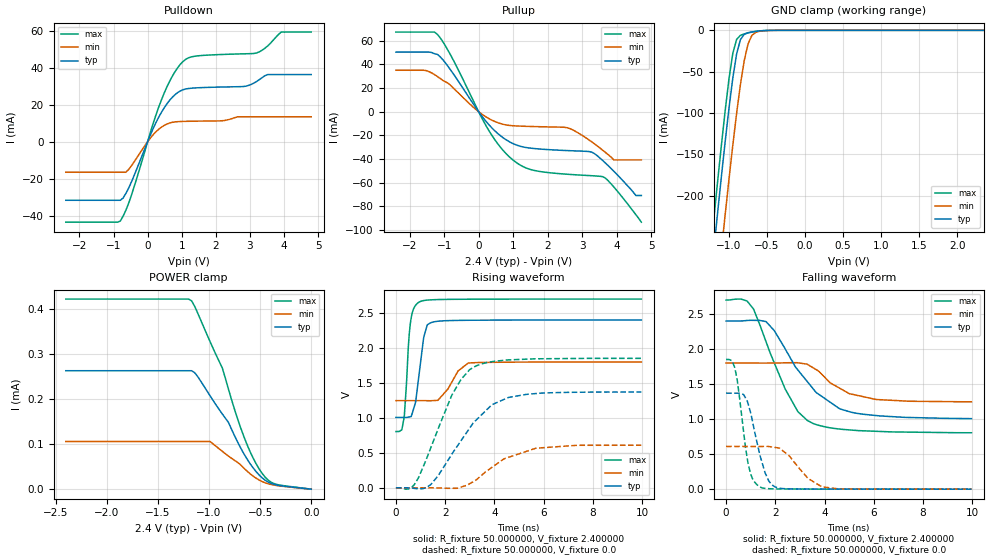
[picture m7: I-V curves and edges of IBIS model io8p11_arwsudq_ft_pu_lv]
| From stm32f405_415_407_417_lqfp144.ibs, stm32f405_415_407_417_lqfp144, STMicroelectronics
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|   Model io8p11_arwsudq_ft_pu_lv
[Model]  io8p11_arwsudq_ft_pu_lv
Model_type I/O
Polarity   Non-Inverting
Enable   Active-Low
Vinl =   0.720000V
Vinh =   1.680000V
Vmeas =  1.200000V
Cref =   30.000000pF
Rref =   100.000000M
Vref =   0.0V
C_comp   2.828100pF   2.774600pF   2.917100pF
[Temperature Range]   25.000000   0.125000k   -40.000000
[Pullup Reference]   2.400000V   1.800000V   2.700000V
[Pulldown Reference]   0.0V   0.0V   0.0V
[POWER Clamp Reference]   2.400000V   1.800000V   2.700000V
[GND Clamp Reference]   0.0V   0.0V   0.0V
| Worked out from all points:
|   slope of the pulldown table from 0 to 0.36 V, typ, clamps not added: 25 ohm
|   slope of the pullup table from 0 to 0.36 V, typ, clamps not added: 27.7 ohm
|   GND clamp passes 1 mA (typ) near -0.62 V on its own axis
|   rising waveform, R_fixture 50.000000, V_fixture 2.400000: 20-80 % time 295ps typ, 615ps min, 205ps max; typ from 1.01 V to 2.4 V
|   rising waveform, R_fixture 50.000000, V_fixture 0.0: 20-80 % time 1.73ns typ, 1.72ns min, 1.34ns max; typ from 0.001 V to 1.37 V
|   falling waveform, R_fixture 50.000000, V_fixture 2.400000: 20-80 % time 1.85ns typ, 1.34ns min, 1.4ns max; typ from 2.4 V to 1.01 V
|   falling waveform, R_fixture 50.000000, V_fixture 0.0: 20-80 % time 558ps typ, 950ps min, 411ps max; typ from 1.37 V to 0.001 V
[Pulldown]
|Voltage   I(typ)   I(min)   I(max)
-2.4V     -31.67mA   -16.51mA   -43.52mA
-800mV    -31.67mA   -16.51mA   -42.87mA
-480mV    -21.98mA   -13.17mA   -29.21mA
80mV      3.63mA     1.966mA    5.012mA
480mV     18.16mA    8.738mA    26.02mA
800mV     25.38mA    10.72mA    37.77mA
1.12V     28.53mA    11.02mA    44.6mA
2.8V      29.84mA    13.46mA    47.53mA
3.2V      32.6mA     13.46mA    48.03mA
3.52V     36.31mA    13.46mA    51.75mA
3.92V     36.31mA    13.46mA    59.29mA
4.8V      36.31mA    13.46mA    59.29mA
[Pullup]
|Voltage   I(typ)   I(min)   I(max)
-2.4V     50.44mA    35.08mA    67.37mA
-1.52V    50.44mA    34.74mA    67.37mA
-1.2V     48.54mA    29.87mA    65.51mA
320mV     -11.75mA   -6.207mA   -17.08mA
1.04V     -27.53mA   -11.97mA   -41.91mA
1.6V      -31.13mA   -12.57mA   -49.63mA
2.56V     -32.88mA   -13.48mA   -52.9mA
3.28V     -34.19mA   -25.52mA   -54.17mA
3.6V      -41.32mA   -32.62mA   -54.98mA
3.92V     -50.33mA   -40.8mA    -63.65mA
4.56V     -70.9mA    -40.8mA    -87.11mA
4.72V     -70.9mA    -40.8mA    -93.5mA
[GND_clamp]
|Voltage   I(typ)   I(min)   I(max)
-2.4V     -1.425A    -1.508A    -1.394A
-1.25V    -311.8mA   -402mA     -274.5mA
-1.2V     -266mA     -356.2mA   -228.4mA
-1.15V    -220.9mA   -310.9mA   -183.1mA
-1.1V     -176.9mA   -266.3mA   -139mA
-1.05V    -134.3mA   -222.6mA   -97.01mA
-950mV    -57.81mA   -139.1mA   -27.86mA
-900mV    -28.73mA   -100.5mA   -11.04mA
-850mV    -11.29mA   -65.69mA   -6.054mA
-750mV    -2.852mA   -16.6mA    -3.179mA
-600mV    -750uA     -1.167mA   -738.5uA
2.35V     0A         0A         0A
[POWER_clamp]
|Voltage   I(typ)   I(min)   I(max)
-2.4V     263.2uA    106uA      422.4uA
-1.17V    263.2uA    106uA      418.5uA
-1.11V    250.1uA    106uA      391.1uA
-990mV    207.7uA    106uA      328.2uA
-870mV    167.2uA    84.17uA    269.6uA
-810mV    148.5uA    73.71uA    222.7uA
-660mV    79.21uA    47.09uA    117.6uA
-570mV    47.82uA    29.3uA     69.9uA
-510mV    31.66uA    20.4uA     45.18uA
-420mV    15.55uA    11.87uA    19.89uA
-360mV    10.34uA    8.845uA    12.09uA
0V        0A         0A         0A
[Ramp]
| variable   typ   min   max
dV/dt_r  0.82165/1.72943n   0.36425/1.70946n   1.11088/1.33754n
dV/dt_f  0.83172/1.84083n   0.33198/1.35349n   1.13512/1.39505n
R_load = 50.000000
[Rising Waveform]
R_fixture= 50.000000
V_fixture= 2.400000
V_fixture_min= 1.800000
V_fixture_max= 2.700000
|time   V(typ)   V(min)   V(max)
0s        1.007V     1.247V     805.7mV
240.2ps   1.007V     1.247V     830.8mV
320.3ps   1.007V     1.247V     980.6mV
580.6ps   1.017V     1.247V     2.337V
800.8ps   1.227V     1.247V     2.611V
940.9ps   1.624V     1.247V     2.656V
1.141ns   2.168V     1.247V     2.679V
1.502ns   2.371V     1.248V     2.69V
2.943ns   2.396V     1.785V     2.697V
9.97ns    2.4V       1.8V       2.699V
[Rising Waveform]
R_fixture= 50.000000
V_fixture= 0.0
V_fixture_min= 0.0
V_fixture_max= 0.0
|time   V(typ)   V(min)   V(max)
0s        1.052mV    906.2uV    1.473mV
740.7ps   -6.701mV   896.6uV    44.24mV
1.421ns   49.55mV    994.2uV    578.1mV
2.282ns   487.7mV    -5.979mV   1.333V
2.643ns   674mV      11.76mV    1.55V
3.203ns   950.2mV    101.3mV    1.734V
3.904ns   1.189V     294.6mV    1.804V
4.384ns   1.264V     414.9mV    1.824V
5.686ns   1.349V     567.2mV    1.845V
9.97ns    1.371V     610.1mV    1.852V
[Falling Waveform]
R_fixture= 50.000000
V_fixture= 2.400000
V_fixture_min= 1.800000
V_fixture_max= 2.700000
|time   V(typ)   V(min)   V(max)
0s        2.4V       1.8V       2.699V
840.8ps   2.407V     1.8V       2.687V
1.121ns   2.41V      1.8V       2.567V
1.622ns   2.392V     1.8V       2.107V
2.402ns   2.002V     1.804V     1.43V
2.923ns   1.699V     1.804V     1.105V
3.323ns   1.526V     1.778V     976.8mV
4.605ns   1.15V      1.443V     858.9mV
5.085ns   1.099V     1.358V     844.3mV
9.97ns    1.007V     1.247V     805.7mV
[Falling Waveform]
R_fixture= 50.000000
V_fixture= 0.0
V_fixture_min= 0.0
V_fixture_max= 0.0
|time   V(typ)   V(min)   V(max)
0s        1.371V     610.1mV    1.852V
360.4ps   1.371V     610.2mV    1.728V
460.5ps   1.37V      610.1mV    1.543V
860.9ps   1.258V     610mV      439.8mV
1.061ns   991.2mV    609.8mV    160.5mV
1.381ns   478mV      610.1mV    31.9mV
1.742ns   115.5mV    609.1mV    7.813mV
2.182ns   13.89mV    582.9mV    4.208mV
3.904ns   2.275mV    33.59mV    2.192mV
9.97ns    1.052mV    906.2uV    1.473mV
